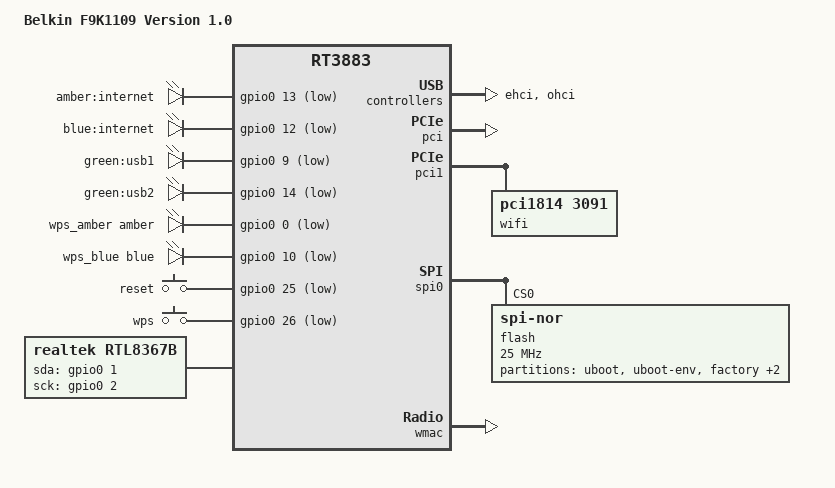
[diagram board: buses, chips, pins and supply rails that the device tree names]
// SPDX-License-Identifier: GPL-2.0-or-later OR MIT

#include "rt3883.dtsi"

#include <dt-bindings/gpio/gpio.h>
#include <dt-bindings/input/input.h>
#include <dt-bindings/leds/common.h>

/ {
	compatible = "belkin,f9k1109v1", "ralink,rt3883-soc";
	model = "Belkin F9K1109 Version 1.0";

	aliases {
		led-boot = &led_status_amber;
		led-failsafe = &led_status_amber;
		led-running = &led_status_blue;
		led-upgrade = &led_status_amber;
	};

	leds {
		compatible = "gpio-leds";

		led_status_amber: internet_amber {
			label = "amber:internet";
			gpios = <&gpio0 13 GPIO_ACTIVE_LOW>;
		};

		led_status_blue: internet_blue {
			label = "blue:internet";
			gpios = <&gpio0 12 GPIO_ACTIVE_LOW>;
		};

		usb1 {
			label = "green:usb1";
			gpios = <&gpio0 9 GPIO_ACTIVE_LOW>;
			trigger-sources = <&ohci_port1>, <&ehci_port1>;
			linux,default-trigger = "usbport";
		};

		usb2 {
			label = "green:usb2";
			gpios = <&gpio0 14 GPIO_ACTIVE_LOW>;
			trigger-sources = <&ohci_port2>, <&ehci_port2>;
			linux,default-trigger = "usbport";
		};

		wps_amber {
			function = LED_FUNCTION_WPS;
			color = <LED_COLOR_ID_AMBER>;
			gpios = <&gpio0 0 GPIO_ACTIVE_LOW>;
		};

		wps_blue {
			function = LED_FUNCTION_WPS;
			color = <LED_COLOR_ID_BLUE>;
			gpios = <&gpio0 10 GPIO_ACTIVE_LOW>;
		};
	};

	keys {
		compatible = "gpio-keys";

		reset {
			label = "reset";
			gpios = <&gpio0 25 GPIO_ACTIVE_LOW>;
			linux,code = <KEY_RESTART>;
		};

		wps {
			label = "wps";
			gpios = <&gpio0 26 GPIO_ACTIVE_LOW>;
			linux,code = <KEY_WPS_BUTTON>;
		};
	};

	rtl8367b {
		compatible = "realtek,rtl8367b";
		gpio-sda = <&gpio0 1 GPIO_ACTIVE_HIGH>;
		gpio-sck = <&gpio0 2 GPIO_ACTIVE_HIGH>;
		realtek,extif = <5 1 0 1 1 1 1 1 1 2>;
	};
};

&ehci {
	status = "okay";

	ehci_port2: port@2 {
		reg = <2>;
		#trigger-source-cells = <0>;
	};
};

&ethernet {
	port@0 {
		mediatek,fixed-link = <1000 1 1 1>;
		phy-mode = "rgmii";
	};
};

&ohci {
	status = "okay";

	ohci_port2: port@2 {
		reg = <2>;
		#trigger-source-cells = <0>;
	};
};

&pci {
	status = "okay";
};

&pci1 {
	status = "okay";

	wifi@0,0 {
		compatible = "pci1814,3091";
		reg = <0x10000 0 0 0 0>;
		nvmem-cells = <&eeprom_factory_8000>;
		nvmem-cell-names = "eeprom";
		ralink,5ghz = <0>;
	};
};

&spi0 {
	status = "okay";

	flash@0 {
		compatible = "jedec,spi-nor";
		reg = <0>;
		spi-max-frequency = <25000000>;

		partitions {
			compatible = "fixed-partitions";
			#address-cells = <1>;
			#size-cells = <1>;

			partition@0 {
				label = "uboot";
				reg = <0x0 0x30000>;
				read-only;
			};

			partition@30000 {
				label = "uboot-env";
				reg = <0x30000 0x10000>;
				read-only;
			};

			partition@40000 {
				label = "factory";
				reg = <0x40000 0x10000>;
				read-only;

				nvmem-layout {
					compatible = "fixed-layout";
					#address-cells = <1>;
					#size-cells = <1>;

					eeprom_factory_0: eeprom@0 {
						reg = <0x0 0x200>;
					};

					eeprom_factory_8000: eeprom@8000 {
						reg = <0x8000 0x200>;
					};
				};
			};

			partition@50000 {
				compatible = "denx,uimage";
				label = "firmware";
				reg = <0x50000 0x7a0000>;
			};

			partition@7f0000 {
				label = "user-cfg";
				reg = <0x7f0000 0x10000>;
				read-only;
			};
		};
	};
};

&state_default {
	gpio {
		groups = "i2c", "jtag", "uartf";
		function = "gpio";
	};
};

&wmac {
	nvmem-cells = <&eeprom_factory_0>;
	nvmem-cell-names = "eeprom";
	ralink,2ghz = <0>;
};
